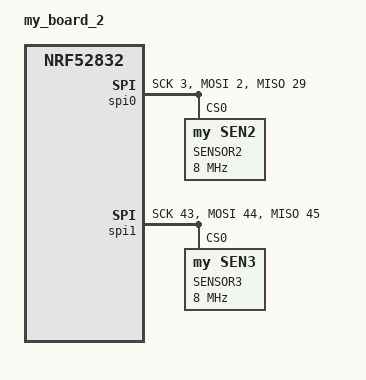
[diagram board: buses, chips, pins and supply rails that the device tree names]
// Copyright (c) 2022 Nordic Semiconductor ASA
// SPDX-License-Identifier: Apache-2.0

/dts-v1/;
#include <nordic/nrf52832_qfaa.dtsi>

/ {
	model = "my_board_2";
	compatible = "my-board-2";

	chosen {
		zephyr,sram = &sram0;
		zephyr,flash = &flash0;
		zephyr,code-partition = &slot0_partition;
	};
};


&spi0 {
	compatible = "nordic,nrf-spim";
	status = "okay";
	sck-pin = <3>;
	mosi-pin = <2>;
	miso-pin = <29>;
	sen2@0 {
		compatible = "my,sen2";
		status = "okay";
		reg = <0>;
		label = "SENSOR2";
		spi-max-frequency = <8000000>;
		bist;
	};
};
&spi1 {
	compatible = "nordic,nrf-spim";
	status = "okay";
	sck-pin = <43>;
	mosi-pin = <44>;
	miso-pin = <45>;
	sen3@0 {
		compatible = "my,sen3";
		status = "okay";
		reg = <0>;
		label = "SENSOR3";
		spi-max-frequency = <8000000>;
		bist;
	};
};


&flash0 {
	partitions {
		compatible = "fixed-partitions";
		#address-cells = <1>;
		#size-cells = <1>;

		boot_partition: partition@0 {
			label = "mcuboot";
			reg = <0x0 0xc000>;
		};
		slot0_partition: partition@c000 {
			label = "image-0";
			reg = <0xc000 0x32000>;
		};
		slot1_partition: partition@3e000 {
			label = "image-1";
			reg = <0x3e000 0x32000>;
		};
		scratch_partition: partition@70000 {
			label = "image-scratch";
			reg = <0x70000 0xa000>;
		};
		storage_partition: partition@7a000 {
			label = "storage";
			reg = <0x7a000 0x6000>;
		};
	};
};

